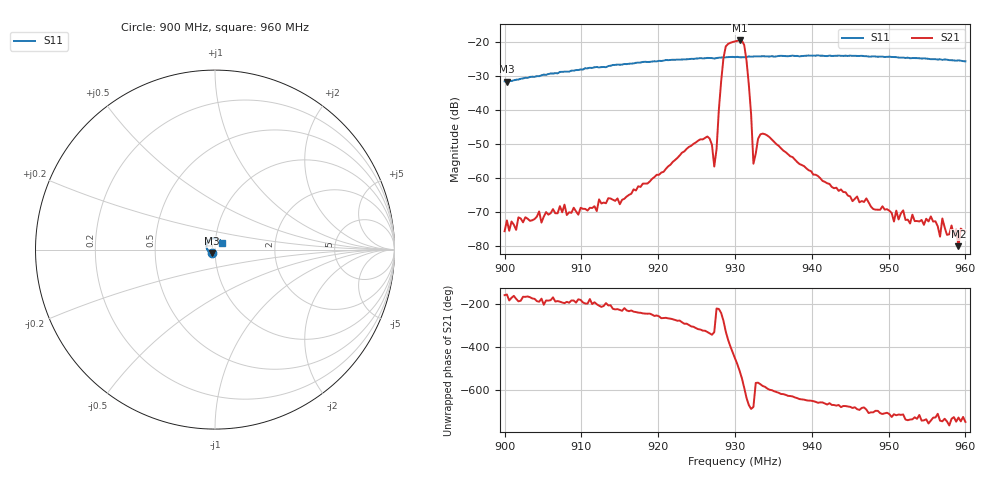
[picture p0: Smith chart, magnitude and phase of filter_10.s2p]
!File created by NanoVNA-F V2
# Hz S RI R 50
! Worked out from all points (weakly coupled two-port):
!   201 points, 900 MHz to 960 MHz, reference 50 ohm
!   highest |S21| = -19.44 dB at 930.6 MHz (marker M1); lowest = -80.1 dB at 959.1 MHz (marker M2)
!   lowest |S11| = -31.6 dB at 900.3 MHz (marker M3), VSWR 1.05, Z = 48.3 - j1.93 ohm
!   |S11| at or under -10 dB: start of sweep to end of sweep
!   S12 and S22 are empty: the file has one direction only
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9e8  -0.0171 -0.0204  -0.000155 -5.2e-05  0 0  0 0
9.003e8  -0.017 -0.02  -0.00022 -8.6e-05  0 0  0 0
9.102e8  -0.0396 -0.00421  -0.000338 9.1e-05  0 0  0 0
9.201e8  -0.0479 0.0236  -0.000216 0.00109  0 0  0 0
9.264e8  -0.0428 0.0405  0.00358 0.00197  0 0  0 0
9.273e8  -0.0385 0.0429  0.0013 0.000696  0 0  0 0
9.285e8  -0.0381 0.0461  0.0103 0.058  0 0  0 0
9.3e8  -0.0354 0.0489  -0.00454 -0.1032  0 0  0 0
9.306e8  -0.033 0.0503  -0.0924 -0.0532  0 0  0 0
9.315e8  -0.0309 0.0522  0.00464 0.0535  0 0  0 0
9.321e8  -0.0307 0.0532  0.00709 0.00486  0 0  0 0
9.324e8  -0.0306 0.0537  0.00117 0.00112  0 0  0 0
9.336e8  -0.0267 0.0565  -0.00347 0.00288  0 0  0 0
9.402e8  -0.00947 0.063  0.000379 0.00105  0 0  0 0
9.501e8  0.0197 0.0582  0.000322 6e-05  0 0  0 0
9.555e8  0.0322 0.0463  0.000255 -9e-05  0 0  0 0
9.567e8  0.0345 0.0445  0.000128 -4.6e-05  0 0  0 0
9.57e8  0.035 0.0425  0.000233 -9.7e-05  0 0  0 0
9.576e8  0.0357 0.0426  0.000133 -5.7e-05  0 0  0 0
9.588e8  0.0386 0.0371  0.000158 -7.1e-05  0 0  0 0
9.591e8  0.04 0.0368  9.8e-05 -9e-06  0 0  0 0
9.6e8  0.0393 0.0347  0.000148 -7e-05  0 0  0 0
